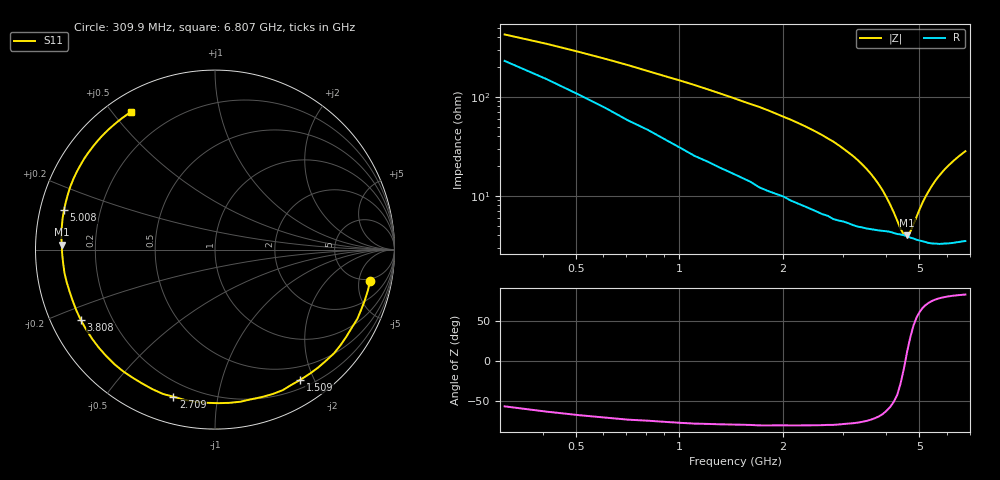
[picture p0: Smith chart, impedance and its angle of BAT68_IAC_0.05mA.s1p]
! Infineon Technologies  Discrete & RF Semiconductors
! BAT68
! IAC = 0.05 mA
! One-Port S-Parameters
# Hz  S  MA  R  50
!f  S11
!Hz  Mag  Ang
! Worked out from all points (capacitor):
!   66 points, 309.9 MHz to 6.807 GHz, reference 50 ohm
!   read as one part to ground: C = 1.25 pF near 309.9 MHz
!   lowest |Z| = 4.01 ohm at 4.608 GHz (marker M1)
!   series resonance near 4.554 GHz, so ESL is about 980 pH
!   S11 on the Smith chart (normalised r, x): 309.9 MHz: 4.62, -7.19; 1.509 GHz: 0.31, -1.81; 2.709 GHz: 0.13, -0.75; 3.808 GHz: 0.09, -0.25; 5.008 GHz: 0.07, +0.13; 6.807 GHz: 0.07, +0.56
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3.0985e8  0.882 -11.3
5.0975e8  0.8811 -18.6
7.0965e8  0.882 -26.0
1.0095e9  0.879 -37.3
1.2094e9  0.8752 -45.0
1.50925e9  0.8672 -56.8
1.8091e9  0.8664 -68.3
2.009e9  0.8578 -76.7
2.2089e9  0.8575 -84.7
2.4088e9  0.8548 -93.0
2.6087e9  0.8542 -101.4
2.70865e9  0.8517 -105.8
2.8086e9  0.8549 -109.8
3.0085e9  0.8491 -118.7
3.2084e9  0.8497 -127.1
3.4083e9  0.8478 -135.7
3.6082e9  0.8459 -144.0
3.8081e9  0.8444 -152.2
4.10795e9  0.8435 -164.0
4.4078e9  0.8495 -174.9
4.6077e9  0.8545 178.1
4.8076e9  0.8627 171.7
5.0075e9  0.8697 165.3
5.2074e9  0.876 159.1
5.6072e9  0.8852 147.8
6.007e9  0.891 137.9
6.4068e9  0.8949 129.1
6.8066e9  0.899 121.2
